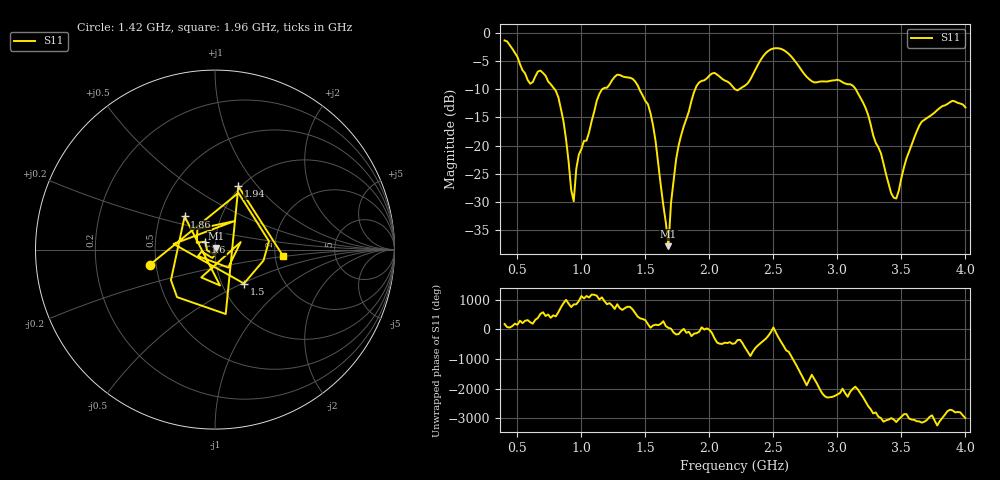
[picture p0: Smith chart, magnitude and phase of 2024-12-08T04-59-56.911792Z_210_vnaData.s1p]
!Created with skrf (http://scikit-rf.org).
# Hz S RI R 50.0
!freq ReS11 ImS11
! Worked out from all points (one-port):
!   181 points, 400 MHz to 4 GHz, reference 50 ohm
!   lowest |S11| = -37.8 dB at 1.68 GHz (marker M1), VSWR 1.03, Z = 50.8 + j1 ohm
!   |S11| at or under -10 dB: 790.6 MHz to 1.162 GHz (371.6 MHz wide, 38.1 % of centre); 1.453 GHz to 1.889 GHz (435.7 MHz wide, 26.1 % of centre); 3.143 GHz to end of sweep (the widest 3 of 4)
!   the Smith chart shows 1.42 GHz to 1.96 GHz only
!   S11 on the Smith chart (normalised r, x): 1.42 GHz: 0.46, -0.09; 1.5 GHz: 1.27, -0.51; 1.6 GHz: 0.89, +0.08; 1.86 GHz: 0.67, +0.26; 1.94 GHz: 0.98, +0.80; 1.96 GHz: 2.21, -0.17
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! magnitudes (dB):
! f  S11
! 400 MHz  -1.3
! 600 MHz  -9.0
! 720 MHz  -7.6
! 860 MHz  -15.7
! 940 MHz  -29.9
! 980 MHz  -21.6
! 1.12 GHz  -12.0
! 1.3 GHz  -7.5
! 1.42 GHz  -8.6
! 1.5 GHz  -12.1
! 1.56 GHz  -16.4
! 1.6 GHz  -23.2
! 1.68 GHz  -37.8
! 1.7 GHz  -30.2
! 1.76 GHz  -19.9
! 1.86 GHz  -12.0
! 1.94 GHz  -8.5
! 1.96 GHz  -8.4
! 2.2 GHz  -10.0
! 2.48 GHz  -2.9
! 2.66 GHz  -4.8
! 2.82 GHz  -8.8
! 3.1 GHz  -9.1
! 3.22 GHz  -13.3
! 3.44 GHz  -29.2
! 3.56 GHz  -21.1
! 3.66 GHz  -15.7
! 4 GHz  -13.2
